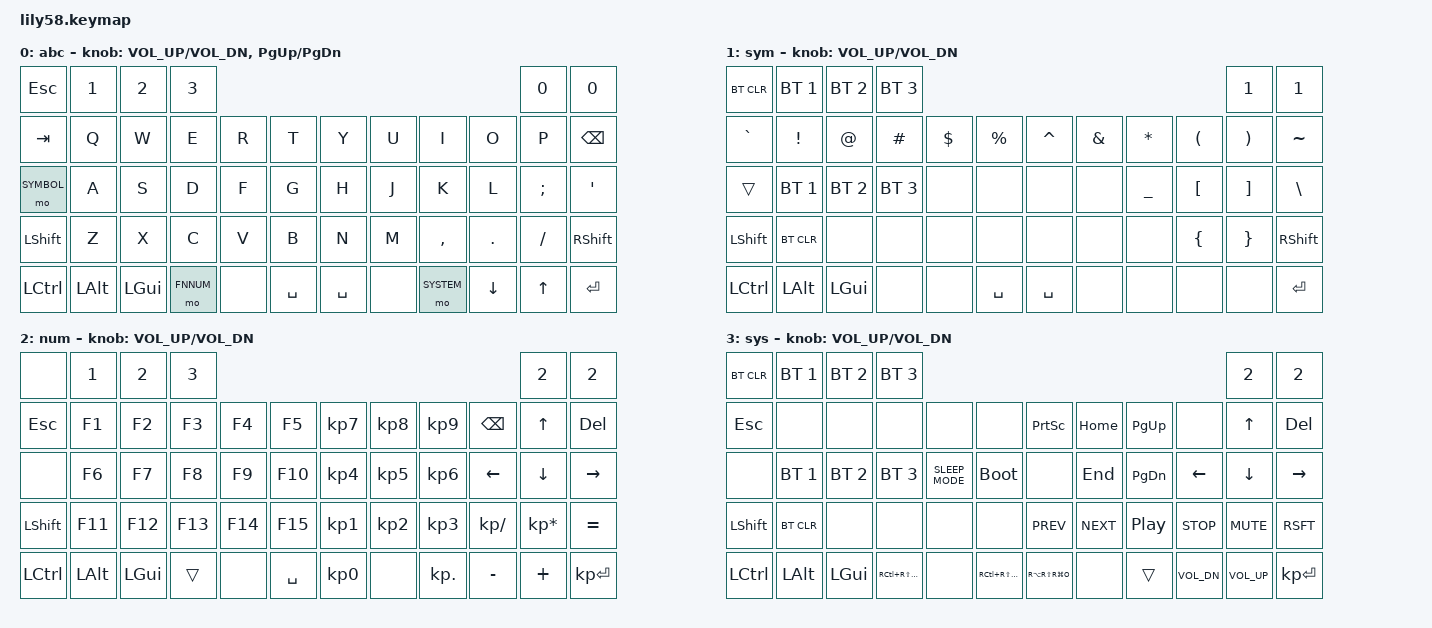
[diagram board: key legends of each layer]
/*
 * Copyright (c) 2020 The ZMK Contributors
 *
 * SPDX-License-Identifier: MIT
 */

#include <behaviors.dtsi>
#include <dt-bindings/zmk/keys.h>
#include <dt-bindings/zmk/bt.h>

 #define DEFAULT 0
 #define SYMBOL  1
 #define FNNUM  2
 #define SYSTEM 3
//#define XCOM 4
//#define XNUM  5

/ {
	keymap {
		compatible = "zmk,keymap";

		default_layer {
			label = " abc";
// --------------------------------------------------------------------------------------------------------------
// |  ESC  |   1   |   2   |   3   |                                                            |   0   |   0   |
// |  TAB  |   Q   |   W   |   E   |   R   |   T   |            |   Y   |   U   |   I   |   O   |   P   |  BSPC |
// |  MOD1 |   A   |   S   |   D   |   F   |   G   |            |   H   |   J   |   K   |   L   |   ;   |   '   |
// | LSHFT |   Z   |   X   |   C   |   V   |   B   |            |   N   |   M   |   ,   |   .   |   /   | RSHFT |
// | LCTRL |  LALT |  LGUI |  MOD2 |       | SPACE |            | SPACE |       |  MOD3 |  DOWN |   UP  | ENTER |
			bindings = <
&kp ESC    &kp N1   &kp N2   &kp N3                                                                  &kp N0   &kp N0
&kp TAB    &kp Q    &kp W    &kp E     &kp R   &kp T            &kp Y     &kp U  &kp I      &kp O    &kp P    &kp BSPC
&mo SYMBOL &kp A    &kp S    &kp D     &kp F   &kp G            &kp H     &kp J  &kp K      &kp L    &kp SEMI &kp SQT
&kp LSHFT  &kp Z    &kp X    &kp C     &kp V   &kp B            &kp N     &kp M  &kp COMMA  &kp DOT  &kp FSLH &kp RSHFT
&kp LCTRL  &kp LALT &kp LGUI &mo FNNUM &none   &kp SPACE        &kp SPACE &none  &mo SYSTEM &kp DOWN &kp UP   &kp RET
			>;

			sensor-bindings = <&inc_dec_kp C_VOL_UP C_VOL_DN &inc_dec_kp PG_UP PG_DN>;
		};

		symbol_layer {
			label = " sym";
// ---------------------------------------------------------------------------------------------------------------------------
// | BTCLR |  BT1  |  BT2  |  BT3  |                                                                         |   1   |   1   |
// |   `   |   !   |   @   |   #   |   $   |   %   |                         |   ^   |   &   |   *   |   (   |   )   |   ~   |
// | TRANS |  BT1  |  BT2  |  BT3  |       |       |                         |       |       |   _   |   [   |   ]   |   \   |
// | LSHFT | BTCLR |       |       |       |       |                         |       |       |       |   {   |   }   | RSHFT |
// | LCTRL |  LALT |  LGUI |       |       | SPACE |                         | SPACE |       |       |       |       | ENTER |
			bindings = <
&bt BT_CLR &bt BT_SEL 1 &bt BT_SEL 2 &bt BT_SEL 3                                                                  &kp N1   &kp N1
&kp GRAVE  &kp EXCL     &kp AT       &kp HASH     &kp DLLR &kp PRCNT         &kp CARET &kp AMPS &kp ASTRK &kp LPAR &kp RPAR &kp TILDE
&trans     &bt BT_SEL 1 &bt BT_SEL 2 &bt BT_SEL 3 &none    &none             &none     &none    &kp UNDER &kp LBKT &kp RBKT &kp BSLH
&kp LSHFT  &bt BT_CLR   &none        &none        &none    &none             &none     &none    &none     &kp LBRC &kp RBRC &kp RSHFT
&kp LCTRL  &kp LALT     &kp LGUI     &none        &none    &kp SPACE         &kp SPACE &none    &none     &none    &none   &kp RET
			>;

			sensor-bindings = <&inc_dec_kp C_VOL_UP C_VOL_DN>;
		};

		fnnum_layer {
			label = " num";
// ------------------------------------------------------------------------------------------------------------
// |       |   1   |   2   |   3   |                                                          |   2   |   2   |
// |  ESC  |  F1   |  F2   |  F3   |  F4   |  F5   |          |  KPN7 |  KPN8 |  KPN9 |  BSPC |   UP  |  DEL  |
// |       |  F6   |  F7   |  F8   |  F9   |  F10  |          |  KPN4 |  KPN5 |  KPN6 |  LEFT |  DOWN | RIGHT |
// | LSHFT |  F11  |  F12  |  F13  |  F14  |  F15  |          |  KPN1 |  KPN2 |  KPN3 |  DIV  |  MULT |   =   |
// | LCTRL |  LALT |  LGUI | TRANS |       | SPACE |          |  KPN0 |       |   .   |   -   |   +   | ENTER |
			bindings = <
&none     &kp N1   &kp N2   &kp N3                                                                         &kp N2          &kp N2
&kp ESC   &kp F1   &kp F2   &kp F3  &kp F4  &kp F5            &kp KP_N7 &kp KP_N8 &kp KP_N9  &kp BSPC      &kp UP          &kp DEL
&none     &kp F6   &kp F7   &kp F8  &kp F9  &kp F10           &kp KP_N4 &kp KP_N5 &kp KP_N6  &kp LEFT      &kp DOWN        &kp RIGHT
&kp LSHFT &kp F11  &kp F12  &kp F13 &kp F14 &kp F15           &kp KP_N1 &kp KP_N2 &kp KP_N3  &kp KP_DIVIDE &kp KP_MULTIPLY &kp EQUAL
&kp LCTRL &kp LALT &kp LGUI &trans  &none   &kp SPACE         &kp KP_N0 &none     &kp KP_DOT &kp MINUS  &kp PLUS     &kp KP_ENTER
			>;

			sensor-bindings = <&inc_dec_kp C_VOL_UP C_VOL_DN>;
		};
		
		system_layer {
			label = " sys";
// -----------------------------------------------------------------------------------------------------------------------------------------
// | BTCLR |  BT1  |  BT2  |  BT3  |                                                                                       |   2   |   2   |
// |  ESC  |       |       |       |       |       |                                       | PSCRN |  HOME |  PGUP |       |   UP  |  DEL  |
// |       |  BT1  |  BT2  |  BT3  | SLEEP |       |                                       |       |   END |  PGDN |  LEFT |  DOWN | RIGHT |
// | LSHFT | BTCLR |       |       | BOOTL |       |                                       |  PREV |  NEXT |   PP  |  STOP |  MUTE |  RSFT |
// | LCTRL |  LALT |  LGUI | TaskM |       | ZoomV |                                       | ZoomA |       | TRANS | VOLDN | VOLUP | ENTER |
			bindings = <
&bt BT_CLR &bt BT_SEL 1 &bt BT_SEL 2 &bt BT_SEL 3                                                                                           &kp N2       &kp N2
&kp ESC    &none        &none        &none           &none     		  &none 				&kp PSCRN     &kp HOME   &kp PG_UP  &none        &kp UP       &kp DEL
&none      &bt BT_SEL 1 &bt BT_SEL 2 &bt BT_SEL 3    &kp C_SLEEP_MODE &bootloader          	&none         &kp END    &kp PG_DN  &kp LEFT     &kp DOWN     &kp RIGHT
&kp LSHFT  &bt BT_CLR 	&none        &none           &none            &none                	&kp C_PREV    &kp C_NEXT &kp C_PP   &kp C_STOP   &kp C_MUTE   &kp RSFT
&kp LCTRL  &kp LALT     &kp LGUI     &kp RC(RS(ESC)) &none            &kp RC(RS(RG(O)))    	&kp RA(RS(RG(O))) &none  &trans     &kp C_VOL_DN &kp C_VOL_UP &kp KP_ENTER
			>;

			sensor-bindings = <&inc_dec_kp C_VOL_UP C_VOL_DN>;
		};
	};
};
